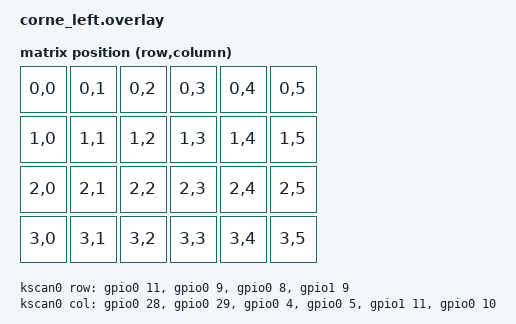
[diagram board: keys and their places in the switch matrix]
/*
 * XIAO nRF52840 6x4 keyboard
 * cols: Col0..Col5
 * rows: Row0..Row3
 * NFC pins used as GPIO
 */

#include <dt-bindings/zmk/matrix_transform.h>

/ {
    chosen {
        zmk,kscan = &kscan0;
        zmk,matrix_transform = &default_transform;
    };

    default_transform: keymap_transform0 {
        compatible = "zmk,matrix-transform";
        columns = <6>;
        rows = <4>;

        map = <
            RC(0,0) RC(0,1) RC(0,2) RC(0,3) RC(0,4) RC(0,5)
            RC(1,0) RC(1,1) RC(1,2) RC(1,3) RC(1,4) RC(1,5)
            RC(2,0) RC(2,1) RC(2,2) RC(2,3) RC(2,4) RC(2,5)
            RC(3,0) RC(3,1) RC(3,2) RC(3,3) RC(3,4) RC(3,5)
        >;
    };

    kscan0: kscan0 {
        compatible = "zmk,kscan-gpio-matrix";
        label = "KSCAN";

        /* まず row2col で試す */
        diode-direction = "row2col";

        col-gpios
            = <&gpio0 28 (GPIO_ACTIVE_HIGH | GPIO_PULL_DOWN)> /* D2 */
            , <&gpio0 29 (GPIO_ACTIVE_HIGH | GPIO_PULL_DOWN)> /* D3 */
            , <&gpio0 4  (GPIO_ACTIVE_HIGH | GPIO_PULL_DOWN)> /* D4 */
            , <&gpio0 5  (GPIO_ACTIVE_HIGH | GPIO_PULL_DOWN)> /* D5 */
            , <&gpio1 11 (GPIO_ACTIVE_HIGH | GPIO_PULL_DOWN)> /* D6 */
            , <&gpio0 10 (GPIO_ACTIVE_HIGH | GPIO_PULL_DOWN)> /* NFC1 */
            ;

        row-gpios
            = <&gpio0 11 GPIO_ACTIVE_HIGH> /* D10 */
            , <&gpio0 9  GPIO_ACTIVE_HIGH> /* D9 / NFC2 */
            , <&gpio0 8  GPIO_ACTIVE_HIGH> /* D8 */
            , <&gpio1 9  GPIO_ACTIVE_HIGH> /* D7 */
            ;
    };
};

/* NFC端子をGPIO化 */
&uicr {
    nfct-pins-as-gpios;
};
